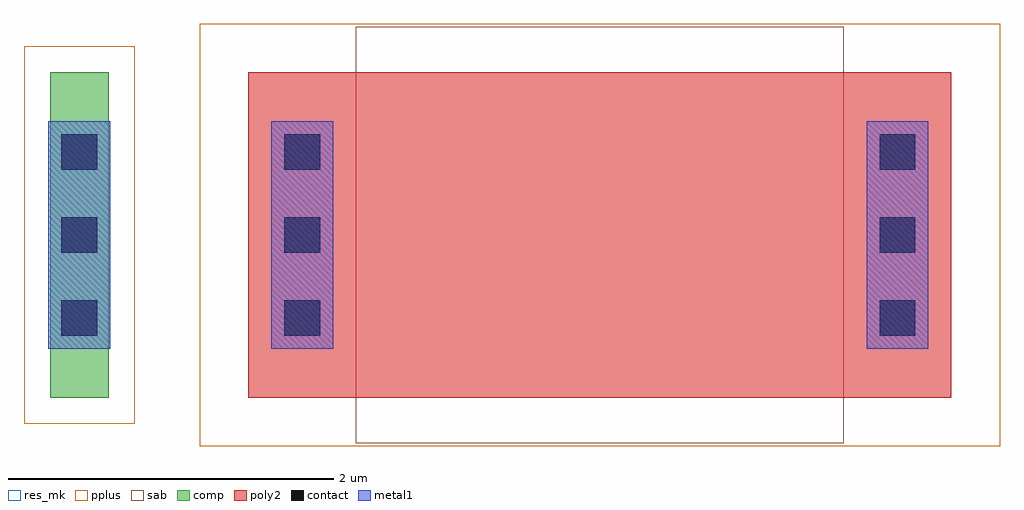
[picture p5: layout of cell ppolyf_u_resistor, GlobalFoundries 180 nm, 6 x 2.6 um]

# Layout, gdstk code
import gdstk
lib = gdstk.Library(unit=1e-6, precision=5e-09)
def R(c, l, rs):  # rectangles x0, y0, x1, y1
    for r in rs: c.add(gdstk.rectangle(r[:2], r[2:], *l))
def A(c, l, x, y, w, h, nx, ny, dx, dy):  # array of equal rectangles
    R(c, l, [(x+i*dx, y+j*dy, x+i*dx+w, y+j*dy+h) for i in range(nx) for j in range(ny)])
comp = (22, 0)
poly2 = (30, 0)
pplus = (31, 0)
contact = (33, 0)
metal1 = (34, 0)
sab = (49, 0)
res_mk = (110, 5)

ppolyf_u_resistor = lib.new_cell('ppolyf_u_resistor')
R(ppolyf_u_resistor, comp, [(-1.88,0,-1.52,2)])
R(ppolyf_u_resistor, poly2, [(-0.66,0,3.66,2)])
R(ppolyf_u_resistor, pplus, [(-0.96,-0.3,3.96,2.3), (-2.04,-0.16,-1.36,2.16)])
A(ppolyf_u_resistor, contact, -1.81, 0.38, 0.22, 0.22, 1, 3, 0, 0.51)
A(ppolyf_u_resistor, contact, -0.44, 0.38, 0.22, 0.22, 1, 3, 0, 0.51)
A(ppolyf_u_resistor, contact, 3.22, 0.38, 0.22, 0.22, 1, 3, 0, 0.51)
R(ppolyf_u_resistor, metal1, [(-1.89,0.3,-1.51,1.7), (-0.52,0.3,-0.14,1.7), (3.14,0.3,3.52,1.7)])
R(ppolyf_u_resistor, sab, [(0,-0.28,3,2.28)])
R(ppolyf_u_resistor, res_mk, [(0,0,3,2)])

lib.write_gds('ppolyf_u_resistor.gds')
